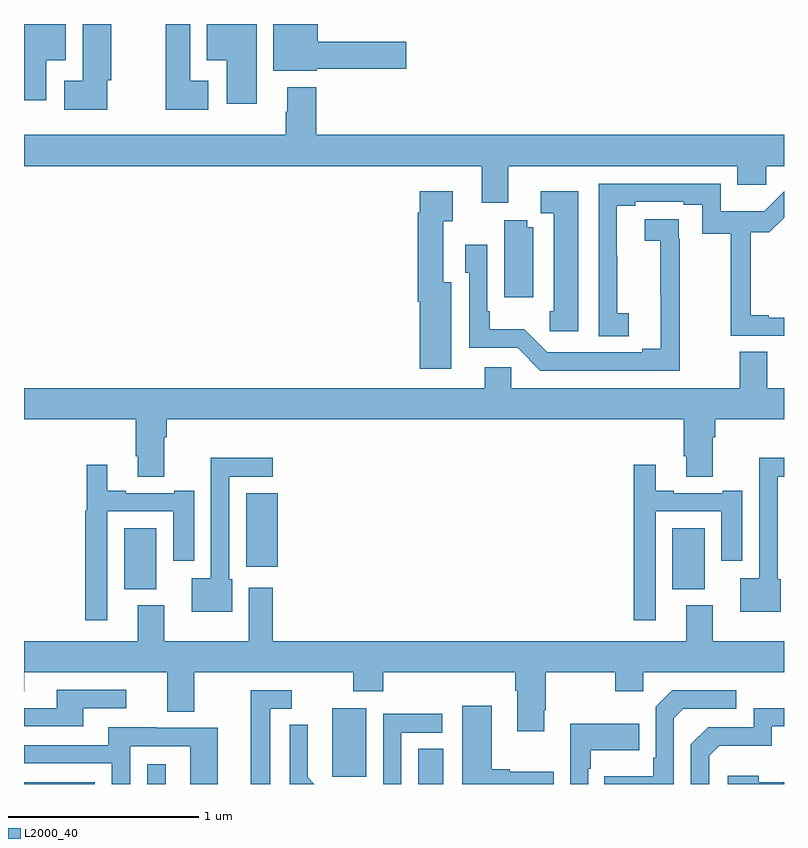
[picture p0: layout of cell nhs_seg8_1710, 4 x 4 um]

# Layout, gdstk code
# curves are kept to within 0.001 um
import gdstk
lib = gdstk.Library(unit=1e-6, precision=1e-09)
def R(c, l, rs):  # rectangles x0, y0, x1, y1
    for r in rs: c.add(gdstk.rectangle(r[:2], r[2:], *l))
def P(c, l, *ps):  # polygons
    for p in ps: c.add(gdstk.Polygon(p, *l))
L2000_40 = (2000, 40)

nhs_seg8_1710 = lib.new_cell('nhs_seg8_1710')
R(nhs_seg8_1710, L2000_40, [(219,1127.9,219.372,1127.91), (219.648,1127.9,219.745,1128.004), (221.075,1127.9,221.206,1128.086), (220.622,1127.937,220.801,1128.298), (219.527,1128.926,219.697,1129.246), (222.413,1128.926,222.583,1129.246), (220.169,1129.043,220.336,1129.429)])
P(nhs_seg8_1710, L2000_40, [(219.97,1131.601),(219.874,1131.601),(219.874,1131.9),(219.745,1131.9),(219.745,1131.449),(219.97,1131.449)],
  [(219.438,1131.603),(219.459,1131.603),(219.459,1131.9),(219.308,1131.9),(219.308,1131.601),(219.213,1131.601),(219.213,1131.449),(219.438,1131.449)],
  [(220.542,1131.664),(221.011,1131.664),(221.011,1131.806),(220.546,1131.806),(220.546,1131.9),(220.313,1131.9),(220.313,1131.653),(220.542,1131.653)],
  [(220.225,1131.9),(219.962,1131.9),(219.962,1131.71),(220.067,1131.71),(220.067,1131.48),(220.225,1131.48)],
  [(219.118,1131.71),(219.22,1131.71),(219.22,1131.9),(219,1131.9),(219,1131.498),(219.118,1131.498)],
  [(221.548,1131.152),(222.755,1131.152),(222.755,1131.054),(222.907,1131.054),(222.907,1131.152),(223,1131.152),(223,1131.316),(220.538,1131.316),(220.538,1131.568),(220.385,1131.568),(220.385,1131.437),(220.378,1131.437),(220.378,1131.316),(219,1131.316),(219,1131.152),(221.408,1131.152),(221.408,1130.958),(221.548,1130.958)],
  [(222.184,1130.377),(222.123,1130.377),(222.123,1130.681),(222.121,1130.681),(222.121,1130.944),(222.217,1130.944),(222.217,1130.964),(222.473,1130.964),(222.473,1130.95),(222.57,1130.95),(222.57,1130.797),(222.721,1130.797),(222.721,1130.259),(223,1130.259),(223,1130.355),(222.919,1130.355),(222.919,1130.368),(222.824,1130.368),(222.824,1130.805),(222.923,1130.805),(223,1130.881),(223,1131.019),(222.895,1130.914),(222.666,1130.914),(222.666,1131.06),(222.024,1131.06),(222.024,1130.257),(222.184,1130.257)],
  [(221.248,1130.542),(221.206,1130.542),(221.206,1130.863),(221.257,1130.863),(221.257,1131.019),(221.084,1131.019),(221.084,1130.906),(221.072,1130.906),(221.072,1130.438),(221.084,1130.438),(221.084,1130.085),(221.248,1130.085)],
  [(221.917,1131.019),(221.721,1131.019),(221.721,1130.904),(221.789,1130.904),(221.789,1130.388),(221.767,1130.388),(221.767,1130.283),(221.917,1130.283)],
  [(222.452,1130.771),(222.446,1130.771),(222.446,1130.873),(222.267,1130.873),(222.267,1130.758),(222.349,1130.758),(222.35,1130.192),(222.254,1130.192),(222.254,1130.172),(221.754,1130.172),(221.633,1130.293),(221.452,1130.293),(221.452,1130.389),(221.439,1130.389),(221.439,1130.737),(221.322,1130.737),(221.322,1130.592),(221.343,1130.592),(221.343,1130.196),(221.598,1130.196),(221.718,1130.076),(222.452,1130.076)],
  [(221.68,1130.83),(221.648,1130.83),(221.648,1130.867),(221.528,1130.867),(221.528,1130.463),(221.68,1130.463)],
  [(219.739,1129.724),(219.752,1129.724),(219.752,1129.82),(222.473,1129.82),(222.473,1129.624),(222.485,1129.624),(222.485,1129.516),(222.625,1129.516),(222.625,1129.724),(222.638,1129.724),(222.638,1129.82),(223,1129.82),(223,1129.984),(222.913,1129.984),(222.913,1130.174),(222.766,1130.174),(222.766,1129.984),(221.565,1129.984),(221.565,1130.094),(221.426,1130.094),(221.426,1129.984),(219,1129.984),(219,1129.82),(219.587,1129.82),(219.587,1129.624),(219.599,1129.624),(219.599,1129.516),(219.739,1129.516)],
  [(220.096,1128.978),(220.08,1128.978),(220.08,1129.518),(220.309,1129.518),(220.309,1129.616),(219.984,1129.616),(219.984,1128.982),(219.884,1128.982),(219.884,1128.806),(220.096,1128.806)],
  [(222.982,1128.978),(222.966,1128.978),(222.966,1129.518),(223,1129.518),(223,1129.616),(222.87,1129.616),(222.87,1128.982),(222.77,1128.982),(222.77,1128.806),(222.982,1128.806)],
  [(222.324,1129.335),(222.671,1129.335),(222.671,1129.074),(222.781,1129.074),(222.781,1129.444),(222.677,1129.444),(222.677,1129.431),(222.421,1129.431),(222.421,1129.444),(222.325,1129.444),(222.325,1129.579),(222.208,1129.579),(222.208,1128.762),(222.324,1128.762)],
  [(219.438,1129.335),(219.785,1129.335),(219.785,1129.074),(219.895,1129.074),(219.895,1129.444),(219.791,1129.444),(219.791,1129.431),(219.535,1129.431),(219.535,1129.444),(219.439,1129.444),(219.439,1129.579),(219.33,1129.579),(219.33,1129.338),(219.322,1129.338),(219.322,1128.762),(219.438,1128.762)],
  [(221.737,1128.289),(221.745,1128.289),(221.745,1128.488),(222.112,1128.488),(222.112,1128.389),(222.258,1128.389),(222.258,1128.488),(223,1128.488),(223,1128.652),(222.625,1128.652),(222.625,1128.841),(222.485,1128.841),(222.485,1128.652),(220.31,1128.652),(220.31,1128.934),(220.184,1128.934),(220.184,1128.652),(219.739,1128.652),(219.739,1128.841),(219.599,1128.841),(219.599,1128.652),(219,1128.652),(219,1128.389),(219.001,1128.389),(219.001,1128.488),(219.755,1128.488),(219.755,1128.28),(219.895,1128.28),(219.895,1128.488),(220.732,1128.488),(220.732,1128.389),(220.892,1128.389),(220.892,1128.488),(221.585,1128.488),(221.585,1128.392),(221.597,1128.392),(221.597,1128.177),(221.737,1128.177)],
  [(219.313,1128.3),(219.538,1128.3),(219.538,1128.396),(219.173,1128.396),(219.173,1128.3),(219,1128.3),(219,1128.204),(219.313,1128.204)],
  [(220.297,1128.297),(220.408,1128.297),(220.408,1128.393),(220.193,1128.393),(220.193,1127.9),(220.297,1127.9)],
  [(222.42,1128.246),(222.471,1128.297),(222.748,1128.297),(222.748,1128.393),(222.411,1128.393),(222.324,1128.306),(222.324,1128.037),(222.312,1128.037),(222.312,1127.941),(222.055,1127.941),(222.055,1127.9),(222.42,1127.9)],
  [(221.788,1127.965),(221.557,1127.965),(221.557,1127.978),(221.461,1127.978),(221.461,1128.313),(221.306,1128.313),(221.306,1127.9),(221.788,1127.9)],
  [(222.606,1128.048),(222.659,1128.101),(222.936,1128.101),(222.936,1128.204),(223,1128.204),(223,1128.3),(222.84,1128.3),(222.84,1128.198),(222.6,1128.198),(222.51,1128.108),(222.51,1127.9),(222.606,1127.9)],
  [(220.986,1128.171),(221.2,1128.171),(221.2,1128.27),(220.89,1128.27),(220.89,1127.9),(220.986,1127.9)],
  [(221.97,1127.981),(221.983,1127.981),(221.983,1128.077),(222.239,1128.077),(222.239,1128.217),(221.874,1128.217),(221.874,1127.9),(221.97,1127.9)],
  [(220.493,1127.936),(220.493,1128.058),(220.494,1128.058),(220.494,1128.212),(220.398,1128.212),(220.398,1127.9),(220.528,1127.9)],
  [(219.558,1128.099),(219.876,1128.099),(219.876,1127.9),(220.021,1127.9),(220.021,1128.195),(219.697,1128.195),(219.697,1128.199),(219.443,1128.199),(219.443,1128.105),(219,1128.105),(219,1128.009),(219.462,1128.009),(219.462,1127.9),(219.558,1127.9)],
  [(223,1127.91),(222.866,1127.91),(222.866,1127.944),(222.705,1127.944),(222.705,1127.9),(223,1127.9)])

lib.write_gds('nhs_seg8_1710.gds')
